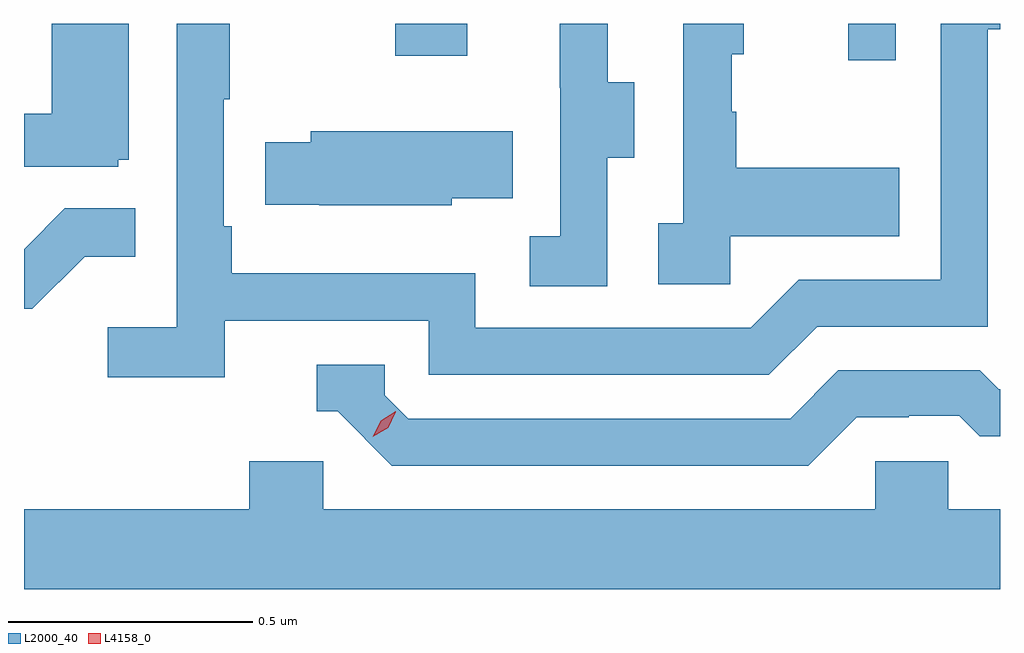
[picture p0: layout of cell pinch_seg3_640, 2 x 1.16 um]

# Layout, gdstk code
import gdstk
lib = gdstk.Library(unit=1e-6, precision=1e-09)
def R(c, l, rs):  # rectangles x0, y0, x1, y1
    for r in rs: c.add(gdstk.rectangle(r[:2], r[2:], *l))
def P(c, l, *ps):  # polygons
    for p in ps: c.add(gdstk.Polygon(p, *l))
L2000_40 = (2000, 40)
L4158_0 = (4158, 0)

pinch_seg3_640 = lib.new_cell('pinch_seg3_640')
R(pinch_seg3_640, L2000_40, [(1020.788,680.688,1020.885,680.762), (1019.86,680.697,1020.007,680.762)])
P(pinch_seg3_640, L2000_40, [(1019.292,680.484),(1019.314,680.484),(1019.314,680.762),(1019.156,680.762),(1019.156,680.578),(1019.099,680.578),(1019.099,680.469),(1019.292,680.469)],
  [(1020.546,680.327),(1020.893,680.327),(1020.893,680.467),(1020.559,680.467),(1020.559,680.582),(1020.549,680.582),(1020.549,680.7),(1020.574,680.7),(1020.574,680.762),(1020.45,680.762),(1020.45,680.354),(1020.399,680.354),(1020.399,680.229),(1020.546,680.229)],
  [(1020.294,680.488),(1020.349,680.488),(1020.349,680.643),(1020.295,680.643),(1020.295,680.762),(1020.197,680.762),(1020.197,680.631),(1020.198,680.631),(1020.198,680.327),(1020.135,680.327),(1020.135,680.224),(1020.294,680.224)],
  [(1019.51,680.154),(1019.928,680.154),(1019.928,680.043),(1020.625,680.043),(1020.724,680.142),(1021.074,680.142),(1021.074,680.751),(1021.099,680.751),(1021.099,680.762),(1020.978,680.762),(1020.978,680.238),(1020.687,680.238),(1020.588,680.139),(1020.024,680.139),(1020.024,680.251),(1019.525,680.251),(1019.525,680.347),(1019.508,680.347),(1019.508,680.608),(1019.521,680.608),(1019.521,680.762),(1019.412,680.762),(1019.412,680.14),(1019.271,680.14),(1019.271,680.038),(1019.51,680.038)],
  [(1019.976,680.405),(1020.101,680.405),(1020.101,680.542),(1019.687,680.542),(1019.687,680.52),(1019.593,680.52),(1019.593,680.391),(1019.704,680.391),(1019.704,680.39),(1019.976,680.39)],
  [(1019.223,680.285),(1019.327,680.285),(1019.327,680.384),(1019.183,680.384),(1019.099,680.3),(1019.099,680.178),(1019.116,680.178)],
  [(1020.805,679.956),(1020.912,679.956),(1020.912,679.959),(1021.015,679.959),(1021.057,679.917),(1021.099,679.917),(1021.099,680.013),(1021.096,680.013),(1021.057,680.052),(1020.768,680.052),(1020.669,679.953),(1019.886,679.953),(1019.838,680.001),(1019.838,680.064),(1019.699,680.064),(1019.699,679.968),(1019.742,679.968),(1019.853,679.857),(1020.706,679.857)],
  [(1021.099,679.768),(1020.993,679.768),(1020.993,679.866),(1020.843,679.866),(1020.843,679.768),(1019.712,679.768),(1019.712,679.866),(1019.561,679.866),(1019.561,679.768),(1019.099,679.768),(1019.099,679.604),(1021.099,679.604)])
P(pinch_seg3_640, L4158_0, [(1019.814,679.916),(1019.814,679.916),(1019.83,679.949),(1019.861,679.968),(1019.861,679.968),(1019.861,679.967),(1019.845,679.935),(1019.814,679.916)])

lib.write_gds('pinch_seg3_640.gds')
